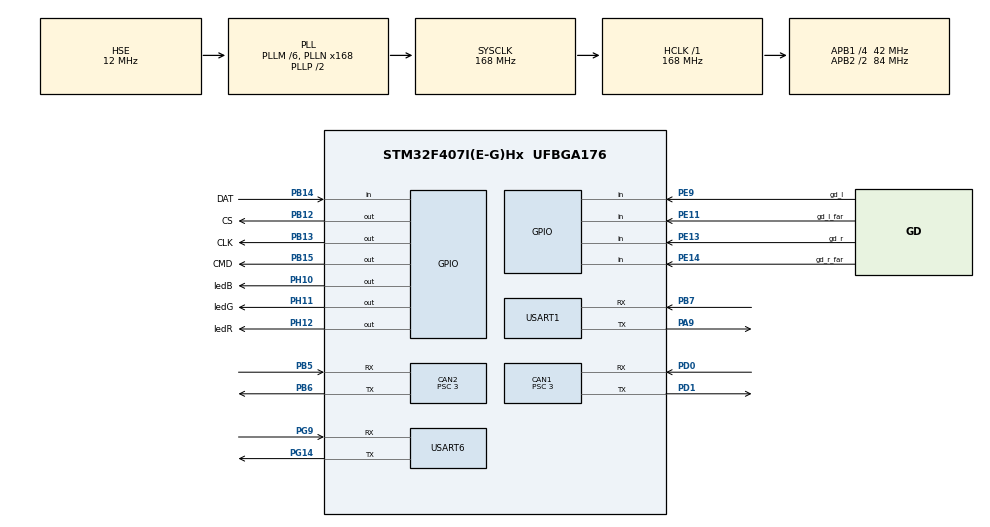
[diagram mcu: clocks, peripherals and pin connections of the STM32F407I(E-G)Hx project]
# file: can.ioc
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CAN1.BS1=CAN_BS1_10TQ
CAN1.BS2=CAN_BS2_3TQ
CAN1.CalculateTimeQuantum=71.42857142857143
CAN1.Prescaler=3
CAN2.BS1=CAN_BS1_10TQ
CAN2.BS2=CAN_BS2_3TQ
CAN2.CalculateTimeQuantum=71.42857142857143
CAN2.Prescaler=3
Dma.Request0=USART6_TX
Dma.USART6_TX.0.Direction=DMA_MEMORY_TO_PERIPH
Dma.USART6_TX.0.FIFOMode=DMA_FIFOMODE_DISABLE
Dma.USART6_TX.0.Instance=DMA2_Stream6
Dma.USART6_TX.0.MemDataAlignment=DMA_MDATAALIGN_BYTE
Dma.USART6_TX.0.MemInc=DMA_MINC_ENABLE
Dma.USART6_TX.0.Mode=DMA_NORMAL
Dma.USART6_TX.0.PeriphDataAlignment=DMA_PDATAALIGN_BYTE
Dma.USART6_TX.0.PeriphInc=DMA_PINC_DISABLE
Dma.USART6_TX.0.Priority=DMA_PRIORITY_VERY_HIGH
Mcu.Family=STM32F4
Mcu.Name=STM32F407I(E-G)Hx
Mcu.Package=UFBGA176
NVIC.CAN1_RX0_IRQn=true\:0\:0\:false\:false\:true\:true\:true\:true
NVIC.CAN2_RX0_IRQn=true\:0\:0\:false\:false\:true\:true\:true\:true
NVIC.DMA2_Stream6_IRQn=true\:0\:0\:false\:false\:true\:false\:true\:true
NVIC.PriorityGroup=NVIC_PRIORITYGROUP_4
NVIC.TIM2_IRQn=true\:0\:0\:true\:false\:true\:true\:true\:true
NVIC.USART1_IRQn=true\:0\:0\:false\:false\:true\:true\:true\:true
PA13.Mode=Serial_Wire
PA13.Signal=SYS_JTMS-SWDIO
PA14.Mode=Serial_Wire
PA14.Signal=SYS_JTCK-SWCLK
PA9.Mode=Asynchronous
PA9.Signal=USART1_TX
PB12.GPIO_Label=CS
PB12.Signal=GPIO_Output
PB13.GPIO_Label=CLK
PB13.Signal=GPIO_Output
PB14.GPIO_Label=DAT
PB14.GPIO_PuPd=GPIO_PULLDOWN
PB14.Signal=GPIO_Input
PB15.GPIO_Label=CMD
PB15.Signal=GPIO_Output
PB5.Mode=Slave
PB5.Signal=CAN2_RX
PB6.Mode=Slave
PB6.Signal=CAN2_TX
PB7.Mode=Asynchronous
PB7.Signal=USART1_RX
PD0.Mode=Master
PD0.Signal=CAN1_RX
PD1.Mode=Master
PD1.Signal=CAN1_TX
PE11.GPIO_Label=gd_l_far
PE11.GPIO_PuPd=GPIO_PULLUP
PE11.Signal=GPIO_Input
PE13.GPIO_Label=gd_r
PE13.GPIO_PuPd=GPIO_PULLUP
PE13.Signal=GPIO_Input
PE14.GPIO_Label=gd_r_far
PE14.GPIO_PuPd=GPIO_PULLUP
PE14.Signal=GPIO_Input
PE9.GPIO_Label=gd_l
PE9.GPIO_PuPd=GPIO_PULLUP
PE9.Signal=GPIO_Input
PG14.Mode=Asynchronous
PG14.Signal=USART6_TX
PG9.Mode=Asynchronous
PG9.Signal=USART6_RX
PH0-OSC_IN.Mode=HSE-External-Oscillator
PH0-OSC_IN.Signal=RCC_OSC_IN
PH1-OSC_OUT.Mode=HSE-External-Oscillator
PH1-OSC_OUT.Signal=RCC_OSC_OUT
PH10.GPIO_Label=ledB
PH10.Signal=GPIO_Output
PH11.GPIO_Label=ledG
PH11.Signal=GPIO_Output
PH12.GPIO_Label=ledR
PH12.Signal=GPIO_Output
ProjectManager.HeapSize=0x200
ProjectManager.StackSize=0x400
ProjectManager.TargetToolchain=MDK-ARM V5
RCC.48MHZClocksFreq_Value=84000000
RCC.AHBFreq_Value=168000000
RCC.APB1CLKDivider=RCC_HCLK_DIV4
RCC.APB1Freq_Value=42000000
RCC.APB1TimFreq_Value=84000000
RCC.APB2CLKDivider=RCC_HCLK_DIV2
RCC.APB2Freq_Value=84000000
RCC.APB2TimFreq_Value=168000000
RCC.CortexFreq_Value=168000000
RCC.HCLKFreq_Value=168000000
RCC.HSE_VALUE=12000000
RCC.HSI_VALUE=16000000
RCC.LSE_VALUE=32768
RCC.PLLM=6
RCC.PLLN=168
RCC.PLLSourceVirtual=RCC_PLLSOURCE_HSE
RCC.SYSCLKFreq_VALUE=168000000
RCC.SYSCLKSource=RCC_SYSCLKSOURCE_PLLCLK
RCC.VCOOutputFreq_Value=336000000
TIM2.AutoReloadPreload=TIM_AUTORELOAD_PRELOAD_ENABLE
TIM2.Period=25
TIM2.Prescaler=16799
USART1.VirtualMode=VM_ASYNC
USART6.VirtualMode=VM_ASYNC
VP_TIM2_VS_ClockSourceINT.Mode=Internal
board=custom

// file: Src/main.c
/* USER CODE BEGIN Header */
/**
******************************************************************************
* @file           : main.c
* @brief          : Main program body
******************************************************************************
* @attention
*
* <h2><center>&copy; Copyright (c) 2019 STMicroelectronics.
* All rights reserved.</center></h2>
*
* This software component is licensed by ST under BSD 3-Clause license,
* the "License"; You may not use this file except in compliance with the
* License. You may obtain a copy of the License at:
*                        opensource.org/licenses/BSD-3-Clause
*
******************************************************************************
*/
/* USER CODE END Header */

#include "main.h"
#include "can.h"
#include "dma.h"
#include "tim.h"
#include "usart.h"
#include "gpio.h"

/* USER CODE BEGIN Includes */
#include "bsp_can.h"
#include "CAN_receive.h"
#include "ps2.h"
#include "pid.h"
#include "usart.h"
#include "mecanum_control.h"
#include <math.h>
#include <string.h>
#include <stdio.h>

/* USER CODE END Includes */

/* USER CODE BEGIN PD */
#define WHEEL_FR 0  // 右前�?
#define WHEEL_FL 1  // 左前�?
#define WHEEL_BL 2  // 左后�?
#define WHEEL_BR 3  // 右后�?
/* USER CODE END PD */

/* USER CODE BEGIN PV */
fp32 t1=0.0f;
fp32 t2=90.0f;
fp32 t3=180.0f;
fp32 t4=-90.0f;
PID_TypeDef motor_pid[4];
char tx_buffer[1000];
extern TIM_HandleTypeDef htim2;
extern UART_HandleTypeDef huart1;  // 确保你已经在别处定义了这个句�?
extern volatile uint8_t uart_tx_done;
extern void UART1_Send_DMA(uint8_t *buf, uint16_t len);
extern uint8_t g_usart1_receivedata;
extern q_pid speed_pid[4];
volatile uint32_t last_interrupt_time = 0; // 上次中断时间
volatile uint8_t gd_mode;
/* USER CODE END PV */

void SystemClock_Config(void);
/* USER CODE BEGIN PFP */
void UART1_Send_DMA(uint8_t *buf, uint16_t len);
void UART1_Send_IT(uint8_t *buf, uint16_t len);
/* USER CODE END PFP */

/* USER CODE BEGIN 0 */
  //uint8_t move_mode = 0; // 移动模式标志
volatile uint8_t pid_flag = 0; // PID标志
volatile uint8_t stop=1; // 停止标志
//  static uint8_t test_state = 0;  // 0=前进, 1=后退
// static float start_distance = 0.0f;
volatile uint8_t gd_r_test=1;
volatile uint8_t gd_l_test=1;
/* USER CODE END 0 */

int main(void)
{

  /* MCU Configuration--------------------------------------------------------*/

  /* Reset of all peripherals, Initializes the Flash interface and the Systick. */
  HAL_Init();

  /* USER CODE BEGIN Init */

//float wheel_speed_FR;
//float wheel_speed_FL;
//float wheel_speed_BL;
//float wheel_speed_BR;
  /* USER CODE END Init */

  /* Configure the system clock */
  SystemClock_Config();

  /* Initialize all configured peripherals */
  MX_GPIO_Init();
  MX_DMA_Init();
  MX_CAN1_Init();
  MX_CAN2_Init();
  MX_USART1_UART_Init();
  MX_TIM2_Init();
  MX_USART6_UART_Init();
  /* USER CODE BEGIN 2 */
HAL_TIM_Base_Start_IT(&htim2);
can_filter_init();
HAL_UART_Receive_IT(&huart1, &g_usart1_receivedata, 1); // 开启串口1接收中断

  // 修改 PID 初始化代码
//  for (int i = 0; i < 4; i++) {
//    pid_init(&motor_pid[i]);
//    motor_pid[i].f_param_init(&motor_pid[i], PID_Speed, 2000, 300, 10, 10, 2000, 500, 1.5, 0.05, 0.02);
//        // PID模式（位置或速度）、最大输出、积分限幅、死区（绝对值）、控制周期、最大误差、目标值、kp、ki、kd）
//        //开始版本kp=2.5，ki=0.1
//        //初步调试kp=3.7，ki=0.1，kd=0.05
//        //降低参数防止超调：kp=1.5，ki=0.05，kd=0.02，最大输出=2000，积分限幅=300
//    motor_pid[i].target = mecanum.wheel_speed[i];
//  }
for (int i = 0; i < 4; i++)
{
  speed_pid_init(&speed_pid[i]);
  set_speed_pid(&speed_pid[i], 2.5f, 0.4f, 0.2f, 5000.0f, 300.0f,10.0f);
                           //设置kp,   ki,    kd, 最大输出，最大积分， 死区
	                        //初调kp=5.5,ki=0.4,kd=0.2,最大输出2500，积分300，死区10
  speed_pid[i].target = 0.0f; // 初始目标速度为0

}

  angle_controller_init();
  set_angle_pid(70.0f, 0.1f, 0.0f, 5000.0f, 400.0f);
            //设置kp,   ki,   kd,  最大输出，最大积分
	//p50,output1000
	//p60.0f, 0.1f, 0.0f, 1500.0f, 200.0f
  //set_target_angle(0.0f);
  //设置目标角度

  // 初始化麦克纳姆轮控制
  mecanum_init(&mecanum);
  uint32_t last_switch_time = HAL_GetTick();
  HAL_Delay(1500); // 等待系统稳定

  /* USER CODE END 2 */

  /* Infinite loop */
  /* USER CODE BEGIN WHILE */
  while (1)
  {
  set_target_move_to_target(&mecanum,430.0f,0.0f,t1,2000.0f);  //x，y，角度，速度
  HAL_Delay(500);
  set_target_move_to_target(&mecanum,0.0f,-800.0f*1.03f,t1,2000.0f); //到达取货站
  HAL_Delay(500);
  set_target_move_to_target(&mecanum,0.0f,-340.0f,t1,2000.0f);
  HAL_Delay(1000);
  set_target_move_to_target(&mecanum,624.5f,0.0f,t1,2000.0f);
  HAL_Delay(500);
  move_x(&mecanum,t1,1000.0f);
  HAL_Delay(500);
  move_y(&mecanum,t1,1000.0f);
  HAL_Delay(500);
  set_target_move_to_target(&mecanum,230.0f-2.0f,0.0f,t1,1000.0f); //第一个货站
  HAL_Delay(500);

  set_target_move_to_target(&mecanum,461.0f,0.0f,t1,2000.0f);  //避障起点
  HAL_Delay(500);
  set_target_move_to_target(&mecanum,0.0f,230.0f,t1,2000.0f);  //左移
  HAL_Delay(500);
  set_target_move_to_target(&mecanum,884.0f,0.0f,t1,2000.0f);
  HAL_Delay(500);
  set_target_move_to_target(&mecanum,0.0f,-225.0f,t1,2000.0f);  //右移
  HAL_Delay(500);
  set_target_move_to_target(&mecanum,126.0f,0.0f,t1,2000.0f);
  HAL_Delay(500);
  move_x(&mecanum,t1,1000.0f);
  HAL_Delay(500);
  move_y(&mecanum,t1,1000.0f);
  HAL_Delay(500);
  set_target_move_to_target(&mecanum,232.0f-2.0f,0.0f,t1,1000.0f);  //第二个货站

  HAL_Delay(1000);
  move_angle(&mecanum,t1);
  HAL_Delay(1000);
  set_target_move_to_target(&mecanum,810.0f,0.0f,t1,2000.0f);
  HAL_Delay(500);
  move_angle(&mecanum,t2);  //第一次转弯
  HAL_Delay(2000);
  set_target_move_to_target(&mecanum,69.5f,0.0f,t2,2000.0f);
  HAL_Delay(1000);
  move_x(&mecanum,t2,1000.0f);
  HAL_Delay(500);
  move_y(&mecanum,t2,1000.0f);
  HAL_Delay(500);
  set_target_move_to_target(&mecanum,232.0f-2.0f,0.0f,t2,1000.0f); //第三个货站

  HAL_Delay(1000);
  move_angle(&mecanum,t2);
  HAL_Delay(1000);
  set_target_move_to_target(&mecanum,470.0f,0.0f,t2,2000.0f);
  HAL_Delay(1000);
  move_x(&mecanum,t2,1000.0f);
  HAL_Delay(500);
  move_y(&mecanum,t2,1000.0f);
  HAL_Delay(500);
  set_target_move_to_target(&mecanum,232.0f-2.0f,0.0f,t2,1000.0f); //第四个货站

  HAL_Delay(1000);
  move_angle(&mecanum,t2);
  HAL_Delay(1000);
  set_target_move_to_target(&mecanum,400.0f,0.0f,t2,2000.0f);
  HAL_Delay(500);
  move_angle(&mecanum,t3);  //第二次转弯
  HAL_Delay(2000);
  set_target_move_to_target(&mecanum,2115.0f,0.0f,t3,2000.0f);
  HAL_Delay(500);
  move_angle(&mecanum,t4);  //第三次转弯
  HAL_Delay(2000);
  set_target_move_to_target(&mecanum,480.5f,0.0f,t4,2000.0f);
  move_x(&mecanum,t4,1000.0f);
  HAL_Delay(500);
  move_y(&mecanum,t4,1000.0f);
  HAL_Delay(500);
  set_target_move_to_target(&mecanum,232.0f-2.0f,0.0f,t4,1000.0f);//第五个货站

  HAL_Delay(1000);
  set_target_move_to_target(&mecanum,-740.0f,0.0f,t4,2000.0f);
  HAL_Delay(500);
  move_angle(&mecanum,t3);  //第四次转弯 180度
  HAL_Delay(2000);
  set_target_move_to_target(&mecanum,253.0f,0.0f,t3,2000.0f);
  HAL_Delay(500);
  move_x(&mecanum,t3,1000.0f);
  HAL_Delay(500);
  move_y(&mecanum,t3,1000.0f);
  HAL_Delay(500);
  set_target_move_to_target(&mecanum,232.0f-2.0f,0.0f,t3,1000.0f); //第六个货站
  HAL_Delay(1000);
  set_target_move_to_target(&mecanum,1450.0f,0.0f,t3,2000.0f);
  HAL_Delay(500);
  set_target_move_to_target(&mecanum,0.0f,400.0f,t3,2000.0f);
  HAL_Delay(500);

while(1)
{
}

/*
HAL_Delay(20);
if (gd_test==0)
{
  HAL_GPIO_TogglePin(ledR_GPIO_Port, ledR_Pin);
  HAL_Delay(100);
  HAL_GPIO_TogglePin(ledR_GPIO_Port, ledR_Pin);
}
if (gd_test==1)
{
	HAL_GPIO_TogglePin(ledB_GPIO_Port, ledB_Pin);
	HAL_Delay(100);
	HAL_GPIO_TogglePin(ledB_GPIO_Port, ledB_Pin);
}
*/

    //向x轴正方向移动1m
    /*
     if (pid_flag)
      {
        pid_flag = 0;  //清除标志位

        // 在主循环中进行PID计算
        for (int i = 0; i < 4; i++)
        {
            const motor_measure_t *motor_data = get_chassis_motor_measure_point(i);
            if (motor_data != NULL) {
                motor_pid[i].f_cal_pid(&motor_pid[i], motor_data->speed_rpm);
            }
        }
      }
*/

    /*
 uint32_t now = HAL_GetTick();
    if (now - last_switch_time >= 5000)
    {
        move_mode = (move_mode + 1) % 6; // 0~5循环
        last_switch_time = now;
    }

     switch (move_mode)
    {
      case 0:
            mecanum_move_forward(&mecanum, 800.0f); // 前进
            break;
        case 1:
            mecanum_move_backward(&mecanum, 800.0f); // 后退
            break;
        case 2:
            mecanum_move_left(&mecanum, 800.0f); // 左移
            break;
        case 3:
            mecanum_move_right(&mecanum, 800.0f); // 右移
            break;
        case 4:
            mecanum_rotate_left(&mecanum, 600.0f); // 左转
            break;
        case 5:
            mecanum_rotate_right(&mecanum, 600.0f); // 右转
            break;
    }
		*/

    /*
    // VOFA绘图数据发送（只在VOFA模式下发送）
    // 发送8个通道：4个实际速度值 + 4个设定速度值
    float vofa_data[8];
    for (int i = 0; i < 4; i++) {
        vofa_data[i] = (float)get_chassis_motor_measure_point(i)->speed_rpm;     // 实际速度
        vofa_data[i + 4] = (float)motor_pid[i].target;                          // 设定速度
    }
    // 发送浮点数组
    HAL_UART_Transmit(&huart1, (uint8_t*)vofa_data, sizeof(vofa_data), 100);
    // 发送帧尾
    unsigned char tail[4] = {0x00, 0x00, 0x80, 0x7f};
    HAL_UART_Transmit(&huart1, tail, 4, 100);
    HAL_Delay(10); // 延迟10毫秒
    */
    /* USER CODE END WHILE */

  }
}

void SystemClock_Config(void)
{
  RCC_OscInitTypeDef RCC_OscInitStruct = {0};
  RCC_ClkInitTypeDef RCC_ClkInitStruct = {0};

  /** Configure the main internal regulator output voltage
  */
  __HAL_RCC_PWR_CLK_ENABLE();
  __HAL_PWR_VOLTAGESCALING_CONFIG(PWR_REGULATOR_VOLTAGE_SCALE1);
  /** Initializes the CPU, AHB and APB busses clocks
  */
  RCC_OscInitStruct.OscillatorType = RCC_OSCILLATORTYPE_HSE;
  RCC_OscInitStruct.HSEState = RCC_HSE_ON;
  RCC_OscInitStruct.PLL.PLLState = RCC_PLL_ON;
  RCC_OscInitStruct.PLL.PLLSource = RCC_PLLSOURCE_HSE;
  RCC_OscInitStruct.PLL.PLLM = 6;
  RCC_OscInitStruct.PLL.PLLN = 168;
  RCC_OscInitStruct.PLL.PLLP = RCC_PLLP_DIV2;
  RCC_OscInitStruct.PLL.PLLQ = 4;
  if (HAL_RCC_OscConfig(&RCC_OscInitStruct) != HAL_OK)
  {
    Error_Handler();
  }
  /** Initializes the CPU, AHB and APB busses clocks
  */
  RCC_ClkInitStruct.ClockType = RCC_CLOCKTYPE_HCLK|RCC_CLOCKTYPE_SYSCLK
                              |RCC_CLOCKTYPE_PCLK1|RCC_CLOCKTYPE_PCLK2;
  RCC_ClkInitStruct.SYSCLKSource = RCC_SYSCLKSOURCE_PLLCLK;
  RCC_ClkInitStruct.AHBCLKDivider = RCC_SYSCLK_DIV1;
  RCC_ClkInitStruct.APB1CLKDivider = RCC_HCLK_DIV4;
  RCC_ClkInitStruct.APB2CLKDivider = RCC_HCLK_DIV2;

  if (HAL_RCC_ClockConfig(&RCC_ClkInitStruct, FLASH_LATENCY_5) != HAL_OK)
  {
    Error_Handler();
  }
}

/* USER CODE BEGIN 4 */

void HAL_TIM_PeriodElapsedCallback(TIM_HandleTypeDef *htim)
{
    if (htim == &htim2)
    {

      for (int i = 0; i < 4; i++)
{
  speed_pid[i].target = mecanum.wheel_speed[i];
  const motor_measure_t *motor_data = get_chassis_motor_measure_point(i);
  speed_pid_control(&speed_pid[i], speed_pid[i].target, motor_data->speed_rpm);
}
CAN_cmd_chassis(speed_pid[0].output,speed_pid[1].output,speed_pid[2].output,speed_pid[3].output);

//       pid_flag = 1; // 设置PID计算标志
//       switch(stop)
//       {
//        case 0:
//          break;

//        case 1:
//          stop_all();

//           default:
//                stop = 1; // 默认停止
//                break;
       }
    /*for (int i = 0; i < 4; i++)
    {

        motor_pid[i].target = mecanum.wheel_speed[i];
        const motor_measure_t *motor_data = get_chassis_motor_measure_point(i);

            //motor_pid[i].f_cal_pid(&motor_pid[i], motor_data->speed_rpm); //这句有问题，不能放中断回调里

    }
    CAN_cmd_chassis(motor_pid[0].output, motor_pid[1].output, motor_pid[2].output, motor_pid[3].output);
    // 不在中断里发送CAN指令，移到主循环

    }
*/

}

// 定时器中断回调，定时发�?�VOFA数据（float格式，VOFA可直接画图）
//void HAL_TIM_PeriodElapsedCallback(TIM_HandleTypeDef *htim)
//{
//    if (htim == &htim2)
//    {
//        float vofa_data[4];
//        for (int i = 0; i < 4; i++) {
//            vofa_data[i] = (float)get_chassis_motor_measure_point(i)->speed_rpm;
//        }
//        // 发�??4个float数据到VOFA+
//        HAL_UART_Transmit(&huart1, (uint8_t*)vofa_data, sizeof(vofa_data), 100);
//    }
//}
//void HAL_TIM_PeriodElapsedCallback(TIM_HandleTypeDef *htim)
//{

//if (htim == (&htim2))
//{
//			for(int i=0; i<4; i++)
//{
//  motor_pid[i].target = 1000;
//		const motor_measure_t *motor_data = get_chassis_motor_measure_point(i);
//			motor_pid[i].f_cal_pid(&motor_pid[i],motor_data->speed_rpm);    //根据设定值进行PID计算�?
//}
//CAN_cmd_chassis(motor_pid[0].output,motor_pid[1].output,motor_pid[2].output,motor_pid[3].output);
//}
//}

/* USER CODE END 4 */

void Error_Handler(void)
{
}

/************************ (C) COPYRIGHT STMicroelectronics *****END OF FILE****/
